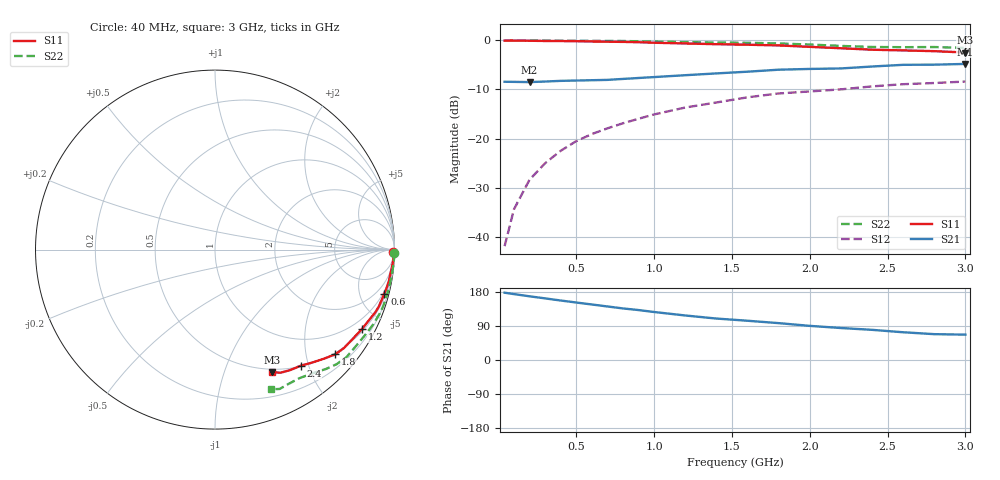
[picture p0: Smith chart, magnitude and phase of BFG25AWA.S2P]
! Filename:  BFG25AWA.S2P  Version:  4.0
! Philips part #: BFG25A/X  Date: Jun 1994
! Bias condition: Vce=1V, Ic=0.1mA
! IN LINE PINNING: same data as with cross emitter pinning.
#  MHz  S  MA  R  50
! Freq  S11  S21  S12  S22  !GUM [dB]
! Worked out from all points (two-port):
!   21 points, 40 MHz to 3 GHz, reference 50 ohm
!   highest |S21| = -4.79 dB at 3 GHz (marker M1); lowest = -8.5 dB at 200 MHz (marker M2)
!   |S21| within 3 dB of the highest: 831.1 MHz to end of sweep
!   lowest |S11| = -2.5 dB at 3 GHz (marker M3), VSWR 7.10, Z = 23.3 - j73.3 ohm
!   |S11| at or under -10 dB: nowhere
!   |S22| runs from -1.5 to 0.0 dB; largest |S21 - S12| = 0.38
!   S11 on the Smith chart (normalised r, x): 40 MHz: open; 600 MHz: 0.78, -7.73; 1.2 GHz: 0.59, -3.88; 1.8 GHz: 0.47, -2.60; 2.4 GHz: 0.51, -1.87; 3 GHz: 0.47, -1.47
40  0.994 -0.8  0.379 177.6  0.008 88.1  0.999 -1.0
100  0.996 -2.5  0.378 173.9  0.019 88.4  0.999 -2.7
200  0.992 -5.0  0.376 168.1  0.038 85.4  0.997 -5.3
300  0.987 -7.4  0.381 162.6  0.056 83.7  0.995 -8.0
400  0.985 -9.9  0.387 157.0  0.075 81.5  0.993 -10.6
500  0.981 -12.1  0.39 151.7  0.094 79.8  0.992 -13.2
600  0.975 -14.6  0.393 146.5  0.111 78.2  0.99 -15.8
700  0.97 -16.9  0.396 141.3  0.127 76.6  0.989 -18.2
800  0.966 -19.3  0.405 136.1  0.143 75.0  0.986 -20.6
900  0.959 -21.4  0.414 131.8  0.159 73.2  0.98 -23.0
1000  0.947 -23.8  0.423 126.7  0.176 71.3  0.975 -25.3
1200  0.931 -28.3  0.442 117.5  0.207 67.0  0.961 -30.1
1400  0.915 -32.8  0.461 109.4  0.233 63.8  0.951 -34.8
1600  0.904 -37.3  0.48 103.6  0.263 61.3  0.946 -39.5
1800  0.889 -41.0  0.503 97.3  0.288 58.0  0.931 -43.3
2000  0.86 -44.9  0.512 90.1  0.302 54.6  0.908 -47.1
2200  0.832 -49.0  0.518 84.4  0.317 51.8  0.879 -51.5
2400  0.804 -53.6  0.542 79.6  0.34 48.0  0.857 -56.7
2600  0.791 -58.1  0.564 73.2  0.358 44.0  0.853 -61.6
2800  0.777 -62.0  0.566 68.2  0.368 41.9  0.856 -65.1
3000  0.753 -65.0  0.576 66.9  0.381 42.3  0.839 -68.1
